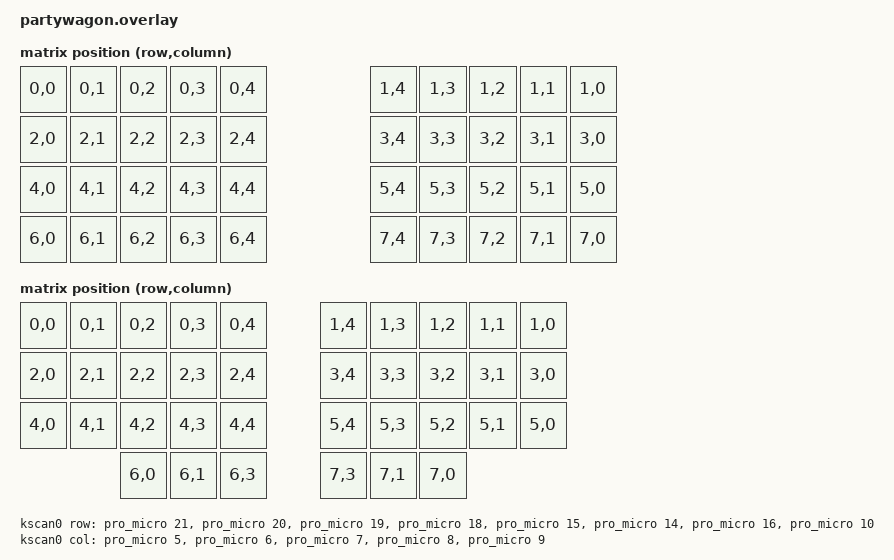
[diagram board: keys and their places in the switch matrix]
/*
 * Copyright (c) 2020 The ZMK Contributors
 *
 * SPDX-License-Identifier: MIT
 */

#include <dt-bindings/zmk/matrix_transform.h>

/ {
	chosen {
		zmk,kscan = &kscan0;
		zmk,matrix_transform = &default_transform;
	};

		keys {
		compatible = "gpio-keys";
		wakeup_key: wakeup_key {
			gpios = <&pro_micro 0 (GPIO_ACTIVE_LOW | GPIO_PULL_UP)>;
		};
	};

	behaviors {
		hw_soft_off: behavior_hw_soft_off {
			compatible = "zmk,behavior-soft-off";
			#binding-cells = <0>;
			label = "HW_SO";
		};
	};

	soft_off_behavior_key {
		compatible = "zmk,behavior-key";
		bindings = <&hw_soft_off>;
		key = <&wakeup_key>;
	};

	wakeup_source: wakeup_source {
		compatible = "zmk,wakeup-trigger-key";
		trigger = <&wakeup_key>;
		wakeup-source;
	};

soft_off_wakers {
		compatible = "zmk,soft-off-wakeup-sources";
		wakeup-sources = <&wakeup_source>;
	};

	default_transform: keymap_transform_0 {
		compatible = "zmk,matrix-transform";
		columns = <10>;
		rows = <4>;
	
		map = <
RC(0,0) RC(0,1) RC(0,2) RC(0,3) RC(0,4)                 RC(1,4) RC(1,3) RC(1,2) RC(1,1) RC(1,0)
RC(2,0) RC(2,1) RC(2,2) RC(2,3) RC(2,4)                 RC(3,4) RC(3,3) RC(3,2) RC(3,1) RC(3,0)
RC(4,0) RC(4,1) RC(4,2) RC(4,3) RC(4,4)                 RC(5,4) RC(5,3) RC(5,2) RC(5,1) RC(5,0)
RC(6,0) RC(6,1) RC(6,2) RC(6,3) RC(6,4)                 RC(7,4) RC(7,3) RC(7,2) RC(7,1) RC(7,0)
		>;
	};
	
	transform_3u: keymap_transform_1 {
		compatible = "zmk,matrix-transform";
		columns = <10>;
		rows = <4>;
	
		map = <
RC(0,0) RC(0,1) RC(0,2) RC(0,3) RC(0,4)                 RC(1,4) RC(1,3) RC(1,2) RC(1,1) RC(1,0)
RC(2,0) RC(2,1) RC(2,2) RC(2,3) RC(2,4)                 RC(3,4) RC(3,3) RC(3,2) RC(3,1) RC(3,0)
RC(4,0) RC(4,1) RC(4,2) RC(4,3) RC(4,4)                 RC(5,4) RC(5,3) RC(5,2) RC(5,1) RC(5,0)
RC(6,0) RC(6,1)         RC(6,3)                                 RC(7,3)         RC(7,1) RC(7,0)
		>;
	};

	kscan0: kscan_0 {
		compatible = "zmk,kscan-gpio-matrix";
		label = "KSCAN";
		diode-direction = "col2row";
		wakeup-source;

		col-gpios
			= <&pro_micro 5 GPIO_ACTIVE_HIGH>
			, <&pro_micro 6 GPIO_ACTIVE_HIGH>
			, <&pro_micro 7 GPIO_ACTIVE_HIGH>
			, <&pro_micro 8 GPIO_ACTIVE_HIGH>
			, <&pro_micro 9 GPIO_ACTIVE_HIGH>
			;
		
		row-gpios
			= <&pro_micro 21 (GPIO_ACTIVE_HIGH | GPIO_PULL_DOWN)>
			, <&pro_micro 20 (GPIO_ACTIVE_HIGH | GPIO_PULL_DOWN)>
			, <&pro_micro 19 (GPIO_ACTIVE_HIGH | GPIO_PULL_DOWN)>
			, <&pro_micro 18 (GPIO_ACTIVE_HIGH | GPIO_PULL_DOWN)>
			, <&pro_micro 15 (GPIO_ACTIVE_HIGH | GPIO_PULL_DOWN)>
			, <&pro_micro 14 (GPIO_ACTIVE_HIGH | GPIO_PULL_DOWN)>
			, <&pro_micro 16 (GPIO_ACTIVE_HIGH | GPIO_PULL_DOWN)>
			, <&pro_micro 10 (GPIO_ACTIVE_HIGH | GPIO_PULL_DOWN)>
			;
	};
};
